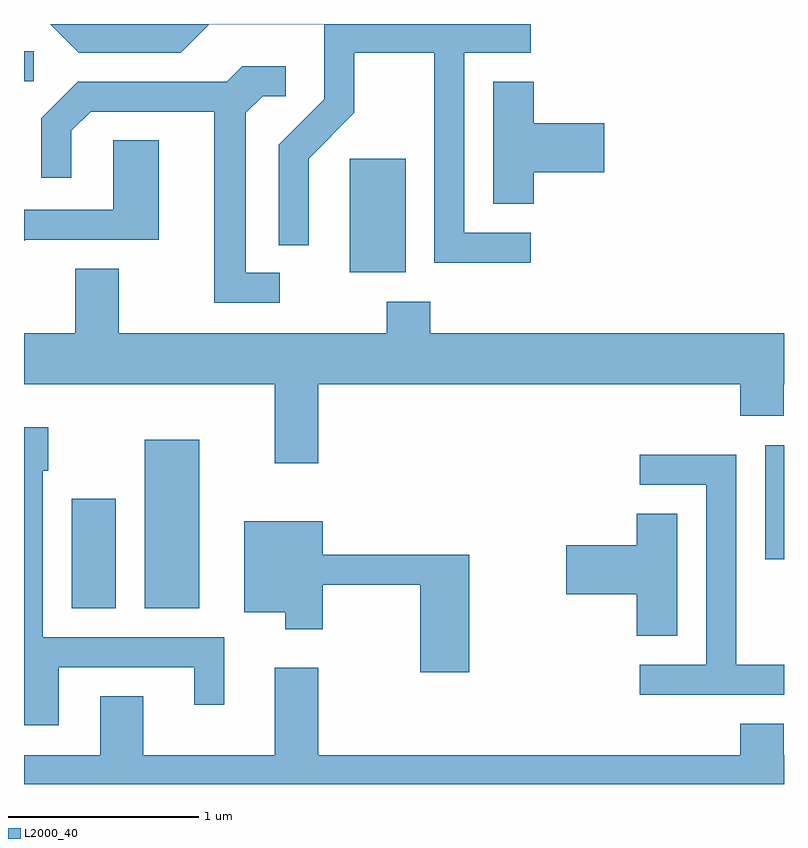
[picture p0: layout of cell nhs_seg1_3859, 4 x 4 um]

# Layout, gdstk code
import gdstk
lib = gdstk.Library(unit=1e-6, precision=1e-09)
def R(c, l, rs):  # rectangles x0, y0, x1, y1
    for r in rs: c.add(gdstk.rectangle(r[:2], r[2:], *l))
def P(c, l, *ps):  # polygons
    for p in ps: c.add(gdstk.Polygon(p, *l))
L2000_40 = (2000, 40)

nhs_seg1_3859 = lib.new_cell('nhs_seg1_3859')
R(nhs_seg1_3859, L2000_40, [(301.861,880.636,302.094,881.214), (302.246,880.636,302.534,881.524), (305.511,880.896,305.611,881.494), (303.326,882.406,303.619,883.004), (301.611,883.411,301.663,883.569)])
P(nhs_seg1_3859, L2000_40, [(304.278,882.614),(303.929,882.614),(303.929,883.561),(304.278,883.561),(304.278,883.712),(301.748,883.712),(301.899,883.561),(302.437,883.561),(302.587,883.711),(303.191,883.711),(303.191,883.317),(302.951,883.077),(302.951,882.548),(303.109,882.548),(303.109,883.004),(303.349,883.244),(303.349,883.561),(303.771,883.561),(303.771,882.456),(304.278,882.456)],
  [(302.958,882.404),(302.779,882.404),(302.779,883.244),(302.867,883.331),(302.988,883.331),(302.988,883.489),(302.759,883.489),(302.679,883.409),(301.894,883.409),(301.701,883.217),(301.701,882.903),(301.859,882.903),(301.859,883.149),(301.962,883.251),(302.611,883.251),(302.611,882.246),(302.958,882.246)],
  [(304.294,882.931),(304.664,882.931),(304.664,883.189),(304.294,883.189),(304.294,883.409),(304.081,883.409),(304.081,882.766),(304.294,882.766)],
  [(301.615,882.576),(302.319,882.576),(302.319,883.099),(302.081,883.099),(302.081,882.734),(301.611,882.734),(301.611,882.571),(301.615,882.571)],
  [(303.159,881.816),(305.381,881.816),(305.381,881.651),(305.609,881.651),(305.609,881.816),(305.611,881.816),(305.611,882.084),(303.749,882.084),(303.749,882.249),(303.521,882.249),(303.521,882.084),(302.109,882.084),(302.109,882.424),(301.881,882.424),(301.881,882.084),(301.611,882.084),(301.611,881.816),(302.931,881.816),(302.931,881.401),(303.159,881.401)],
  [(301.794,880.326),(302.506,880.326),(302.506,880.128),(302.664,880.128),(302.664,880.484),(301.709,880.484),(301.709,881.361),(301.739,881.361),(301.739,881.589),(301.611,881.589),(301.611,880.021),(301.794,880.021)],
  [(305.611,880.339),(305.359,880.339),(305.359,881.444),(304.853,881.444),(304.853,881.286),(305.201,881.286),(305.201,880.339),(304.853,880.339),(304.853,880.181),(305.611,880.181)],
  [(305.049,881.134),(304.836,881.134),(304.836,880.969),(304.466,880.969),(304.466,880.711),(304.836,880.711),(304.836,880.491),(305.049,880.491)],
  [(303.954,880.919),(303.184,880.919),(303.184,881.094),(302.771,881.094),(302.771,880.616),(302.986,880.616),(302.986,880.526),(303.184,880.526),(303.184,880.761),(303.696,880.761),(303.696,880.301),(303.954,880.301)],
  [(305.611,879.864),(305.609,879.864),(305.609,880.029),(305.381,880.029),(305.381,879.864),(303.159,879.864),(303.159,880.324),(302.931,880.324),(302.931,879.864),(302.239,879.864),(302.239,880.174),(302.011,880.174),(302.011,879.864),(301.611,879.864),(301.611,879.712),(305.611,879.712)])

lib.write_gds('nhs_seg1_3859.gds')
